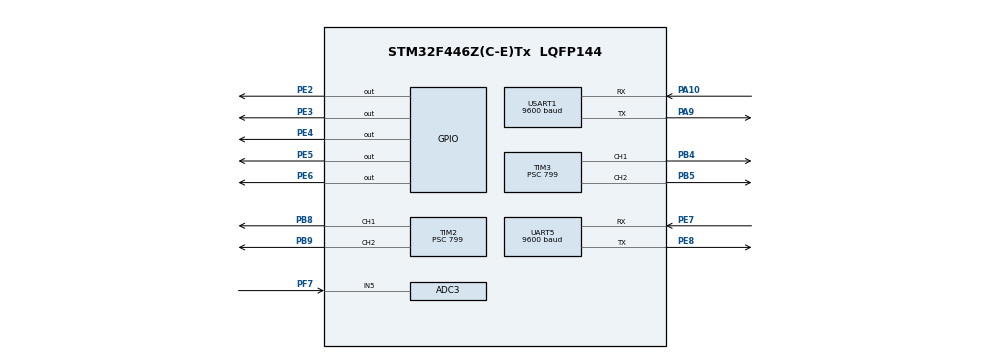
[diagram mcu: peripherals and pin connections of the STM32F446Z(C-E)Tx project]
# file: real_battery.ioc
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ADC3.Channel-0\#ChannelRegularConversion=ADC_CHANNEL_5
ADC3.NbrOfConversionFlag=1
ADC3.Rank-0\#ChannelRegularConversion=1
ADC3.SamplingTime-0\#ChannelRegularConversion=ADC_SAMPLETIME_3CYCLES
Mcu.Family=STM32F4
Mcu.Name=STM32F446Z(C-E)Tx
Mcu.Package=LQFP144
NVIC.PriorityGroup=NVIC_PRIORITYGROUP_4
PA10.Mode=Asynchronous
PA10.Signal=USART1_RX
PA9.Mode=Asynchronous
PA9.Signal=USART1_TX
PB4.Signal=S_TIM3_CH1
PB5.Signal=S_TIM3_CH2
PB8.Signal=S_TIM2_CH1_ETR
PB9.Signal=S_TIM2_CH2
PE2.Signal=GPIO_Output
PE3.Signal=GPIO_Output
PE4.Signal=GPIO_Output
PE5.Signal=GPIO_Output
PE6.Signal=GPIO_Output
PE7.Mode=Asynchronous
PE7.Signal=UART5_RX
PE8.Mode=Asynchronous
PE8.Signal=UART5_TX
PF7.Mode=IN5
PF7.Signal=ADC3_IN5
ProjectManager.HeapSize=0x200
ProjectManager.StackSize=0x400
ProjectManager.TargetToolchain=STM32CubeIDE
RCC.CortexFreq_Value=16000000
RCC.USBFreq_Value=96000000
RCC.VCOOutputFreq_Value=192000000
SH.S_TIM2_CH1_ETR.0=TIM2_CH1,PWM Generation1 CH1
SH.S_TIM2_CH2.0=TIM2_CH2,PWM Generation2 CH2
SH.S_TIM3_CH1.0=TIM3_CH1,PWM Generation1 CH1
SH.S_TIM3_CH2.0=TIM3_CH2,PWM Generation2 CH2
TIM2.Channel-PWM\ Generation1\ CH1=TIM_CHANNEL_1
TIM2.Channel-PWM\ Generation2\ CH2=TIM_CHANNEL_2
TIM2.Period=499
TIM2.Prescaler=799
TIM2.Pulse-PWM\ Generation1\ CH1=250
TIM2.Pulse-PWM\ Generation2\ CH2=250
TIM3.Channel-PWM\ Generation1\ CH1=TIM_CHANNEL_1
TIM3.Channel-PWM\ Generation2\ CH2=TIM_CHANNEL_2
TIM3.Period=499
TIM3.Prescaler=799
TIM3.Pulse-PWM\ Generation1\ CH1=250
TIM3.Pulse-PWM\ Generation2\ CH2=250
UART5.BaudRate=9600
UART5.VirtualMode=Asynchronous
USART1.BaudRate=9600
USART1.VirtualMode=VM_ASYNC
board=custom

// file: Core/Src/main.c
/* USER CODE BEGIN Header */
/**
 ******************************************************************************
 * @file           : main.c
 * @brief          : Main program body
 ******************************************************************************
 * @attention
 *
 * <h2><center>&copy; Copyright (c) 2021 STMicroelectronics.
 * All rights reserved.</center></h2>
 *
 * This software component is licensed by ST under BSD 3-Clause license,
 * the "License"; You may not use this file except in compliance with the
 * License. You may obtain a copy of the License at:
 *                        opensource.org/licenses/BSD-3-Clause
 *
 ******************************************************************************
 */
/* USER CODE END Header */
#include "main.h"

/* USER CODE BEGIN PTD */
typedef enum{F, FL, FR, L, R, B, BL, BR} direction;
/* USER CODE END PTD */

/* USER CODE BEGIN PD */
#define GET_LOW_BYTE(A) (uint8_t)((A))

#define GET_HIGH_BYTE(A) (uint8_t)((A) >> 8)
/* USER CODE END PD */

ADC_HandleTypeDef hadc3;

TIM_HandleTypeDef htim2;
TIM_HandleTypeDef htim3;

UART_HandleTypeDef huart5;
UART_HandleTypeDef huart1;

/* USER CODE BEGIN PV */
int speed;
direction dir;
/* USER CODE END PV */

void SystemClock_Config(void);
static void MX_GPIO_Init(void);
static void MX_ADC3_Init(void);
static void MX_TIM2_Init(void);
static void MX_TIM3_Init(void);
static void MX_UART5_Init(void);
static void MX_USART1_UART_Init(void);
/* USER CODE BEGIN PFP */
void BMS_update(void);
void drive_PWM(void);
void moveServos(uint8_t* servoNum, uint32_t* angles, uint8_t length);
void resetServos();
/* USER CODE END PFP */

/* USER CODE BEGIN 0 */

void BMS_update(void) {
	float raw;
	if(HAL_ADC_Start(&hadc3) == HAL_OK) {
		if (HAL_ADC_PollForConversion(&hadc3, 1000000) == HAL_OK)
		{
			raw = HAL_ADC_GetValue(&hadc3);
		}
	}
	float Vbatt2 = (raw / 4096.0) * 3.35345006 * 6;

	//12.4, 12.8, 13.2, 13.6, 14
	if (Vbatt2 > 14)
		HAL_GPIO_WritePin(GPIOE, GPIO_PIN_2, 1);
	else
		HAL_GPIO_WritePin(GPIOE, GPIO_PIN_2, 0);

	if (Vbatt2 > 13.6)
		HAL_GPIO_WritePin(GPIOE, GPIO_PIN_3, 1);
	else
		HAL_GPIO_WritePin(GPIOE, GPIO_PIN_3, 0);

	if (Vbatt2 > 13.2)
		HAL_GPIO_WritePin(GPIOE, GPIO_PIN_4, 1);
	else
		HAL_GPIO_WritePin(GPIOE, GPIO_PIN_4, 0);

	if (Vbatt2 > 12.8)
		HAL_GPIO_WritePin(GPIOE, GPIO_PIN_5, 1);
	else
		HAL_GPIO_WritePin(GPIOE, GPIO_PIN_5, 0);

	if (Vbatt2 > 12.4)
		HAL_GPIO_WritePin(GPIOE, GPIO_PIN_6, 1);
	else
		HAL_GPIO_WritePin(GPIOE, GPIO_PIN_6, 0);
}

void drive_PWM() {
	switch(dir) {
	case F: {
		TIM2->CCR1 = speed;
	}
	case FL: {
		TIM2->CCR1 = speed;
		TIM2->CCR2 = 0;
		TIM3->CCR1 = 0;
		TIM3->CCR2 = speed;
	}
	case FR:
	case L:
	case R:
	case B:
	case BL:
	case BR:
	default: speed = speed;
	}
}

void operateArm(void) {
	uint8_t length = 5;
	uint8_t servos[length];
	uint32_t angles[length];

	for (int i = 0; i < length; i++)
	{
		servos[i] = i + 2;
		angles[i] = 1500;
	}

	moveServos(servos, angles, length);
	// Claw pivot servo - doesn't ever need to change
	angles[0] = 1500;

	//Top arm servo -
	angles[1] = 1000;
	//600 down straight
	//1500 right angle

	// Mid-arm servo
	angles[2] = 400;
	// 400 forwards down

	// Base servo
	angles[3] = 2200;
	//2200 forwards down - BE CAREFUL THIS PUTS IT REALLY LOW
	//800 backwards down

	// Claw
	// 1500 open completely
	// 2500 closed with contact
	angles[4] = 1500;

	moveServos(servos, angles, length);

	//Grab the object
	angles[4] = 2000;
	moveServos(servos, angles, length);

	//Move the arm backwards
	angles[3] = 1500;
	moveServos(servos, angles, length);
	angles[1] = 1500;
	angles[2] = 1500;
	angles[3] = 1500;
	angles[4] = 2000;
	moveServos(servos, angles, length);

	//Drop the item
	angles[4] = 1500;
	moveServos(servos, angles, length);
}

/* A function that moves the servos defined in servoNum to their corresponding index in angles.
 * The parameters of values to send out are based on:
 * 	https://www.dropbox.com/sh/ykbn480cpidmmej/AACul8lJTQXZdX2APnYCorRca?dl=0&preview=LSC+Series+Servo+Controller+Communication+Protocol+V1.2.pdf
 *
 * servoNum: Array of servo ID values. This doesn't need to be 6 long, just put the values you want to move
 * 		- Servo 1 doesn't work
 * 		- Servo 2 is the claw rotation
 * 		- Servo 3 is the fine vertical pivot
 * 		- Servo 4 is the medium vertical pivot
 * 		- Servo 5 is the large vertical pivot
 * 		- Servo 6 controls the claw's pinching
 *
 * 	angles: Array of angles for each corresponding servo in servoNum
 * 		- 1000 = bottom of range
 * 		- 2000 = top of range
 *
 * 	length: length of both servoNum array and angles array
 */
void moveServos(uint8_t* servos, uint32_t* angles, uint8_t length)
{
	uint16_t time = 1000; //default time because why not

	uint8_t data[7 + (length * 3)];
	data[0] = 0x55; //header 1
	data[1] = 0x55; //header 2
	data[2] = 0x05 + (length * 3); //length
	data[3] = 0x03; //cmd
	data[4] = length; //# servos
	data[5] = GET_LOW_BYTE(time); //lower 8 time
	data[6] = GET_HIGH_BYTE(time); //upper 8 time
	for (int i = 0; i < length; i++)
	{
		data[7 + (i * 3)] = servos[i];
		data[8 + (i * 3)] = GET_LOW_BYTE(angles[i]);
		data[9 + (i * 3)] = GET_HIGH_BYTE(angles[i]);
	}
	HAL_UART_Transmit(&huart1, data, 7 + (length * 3), time + 250);
	//	HAL_Delay(3000);
}

void resetServos()
{
	uint8_t length = 5;
	uint8_t servos[length];
	uint32_t angles[length];
	for(int i = 0; i < length; i++)
	{
		servos[i] = i + 2;
		angles[i] = 1500;
	}
	//	angles[1] = 600;
	angles[4] = 2000;
	moveServos(servos, angles, length);
}
/* USER CODE END 0 */

int main(void)
{

  /* MCU Configuration--------------------------------------------------------*/

  /* Reset of all peripherals, Initializes the Flash interface and the Systick. */
  HAL_Init();

  /* Configure the system clock */
  SystemClock_Config();

  /* Initialize all configured peripherals */
  MX_GPIO_Init();
  MX_ADC3_Init();
  MX_TIM2_Init();
  MX_TIM3_Init();
  MX_UART5_Init();
  MX_USART1_UART_Init();
  /* USER CODE BEGIN 2 */
	HAL_TIM_PWM_Start(&htim2, TIM_CHANNEL_1);
	HAL_TIM_PWM_Start(&htim2, TIM_CHANNEL_2);
	HAL_TIM_PWM_Start(&htim3, TIM_CHANNEL_1);
	HAL_TIM_PWM_Start(&htim3, TIM_CHANNEL_2);

	speed = 25;
	speed = (speed / 100.0) * 500;
	dir = FL;
  /* USER CODE END 2 */

  /* Infinite loop */
  /* USER CODE BEGIN WHILE */
	while (1)
	{
		//	  BMS_update();
		//		drive_PWM();
		resetServos();
    /* USER CODE END WHILE */

	}
}

void SystemClock_Config(void)
{
  RCC_OscInitTypeDef RCC_OscInitStruct = {0};
  RCC_ClkInitTypeDef RCC_ClkInitStruct = {0};

  /** Configure the main internal regulator output voltage
  */
  __HAL_RCC_PWR_CLK_ENABLE();
  __HAL_PWR_VOLTAGESCALING_CONFIG(PWR_REGULATOR_VOLTAGE_SCALE3);
  /** Initializes the RCC Oscillators according to the specified parameters
  * in the RCC_OscInitTypeDef structure.
  */
  RCC_OscInitStruct.OscillatorType = RCC_OSCILLATORTYPE_HSI;
  RCC_OscInitStruct.HSIState = RCC_HSI_ON;
  RCC_OscInitStruct.HSICalibrationValue = RCC_HSICALIBRATION_DEFAULT;
  RCC_OscInitStruct.PLL.PLLState = RCC_PLL_NONE;
  if (HAL_RCC_OscConfig(&RCC_OscInitStruct) != HAL_OK)
  {
    Error_Handler();
  }
  /** Initializes the CPU, AHB and APB buses clocks
  */
  RCC_ClkInitStruct.ClockType = RCC_CLOCKTYPE_HCLK|RCC_CLOCKTYPE_SYSCLK
                              |RCC_CLOCKTYPE_PCLK1|RCC_CLOCKTYPE_PCLK2;
  RCC_ClkInitStruct.SYSCLKSource = RCC_SYSCLKSOURCE_HSI;
  RCC_ClkInitStruct.AHBCLKDivider = RCC_SYSCLK_DIV1;
  RCC_ClkInitStruct.APB1CLKDivider = RCC_HCLK_DIV1;
  RCC_ClkInitStruct.APB2CLKDivider = RCC_HCLK_DIV1;

  if (HAL_RCC_ClockConfig(&RCC_ClkInitStruct, FLASH_LATENCY_0) != HAL_OK)
  {
    Error_Handler();
  }
}

static void MX_ADC3_Init(void)
{

  ADC_ChannelConfTypeDef sConfig = {0};

  /** Configure the global features of the ADC (Clock, Resolution, Data Alignment and number of conversion)
  */
  hadc3.Instance = ADC3;
  hadc3.Init.ClockPrescaler = ADC_CLOCK_SYNC_PCLK_DIV2;
  hadc3.Init.Resolution = ADC_RESOLUTION_12B;
  hadc3.Init.ScanConvMode = DISABLE;
  hadc3.Init.ContinuousConvMode = DISABLE;
  hadc3.Init.DiscontinuousConvMode = DISABLE;
  hadc3.Init.ExternalTrigConvEdge = ADC_EXTERNALTRIGCONVEDGE_NONE;
  hadc3.Init.ExternalTrigConv = ADC_SOFTWARE_START;
  hadc3.Init.DataAlign = ADC_DATAALIGN_RIGHT;
  hadc3.Init.NbrOfConversion = 1;
  hadc3.Init.DMAContinuousRequests = DISABLE;
  hadc3.Init.EOCSelection = ADC_EOC_SINGLE_CONV;
  if (HAL_ADC_Init(&hadc3) != HAL_OK)
  {
    Error_Handler();
  }
  /** Configure for the selected ADC regular channel its corresponding rank in the sequencer and its sample time.
  */
  sConfig.Channel = ADC_CHANNEL_5;
  sConfig.Rank = 1;
  sConfig.SamplingTime = ADC_SAMPLETIME_3CYCLES;
  if (HAL_ADC_ConfigChannel(&hadc3, &sConfig) != HAL_OK)
  {
    Error_Handler();
  }

}

static void MX_TIM2_Init(void)
{

  TIM_MasterConfigTypeDef sMasterConfig = {0};
  TIM_OC_InitTypeDef sConfigOC = {0};

  htim2.Instance = TIM2;
  htim2.Init.Prescaler = 799;
  htim2.Init.CounterMode = TIM_COUNTERMODE_UP;
  htim2.Init.Period = 499;
  htim2.Init.ClockDivision = TIM_CLOCKDIVISION_DIV1;
  htim2.Init.AutoReloadPreload = TIM_AUTORELOAD_PRELOAD_DISABLE;
  if (HAL_TIM_PWM_Init(&htim2) != HAL_OK)
  {
    Error_Handler();
  }
  sMasterConfig.MasterOutputTrigger = TIM_TRGO_RESET;
  sMasterConfig.MasterSlaveMode = TIM_MASTERSLAVEMODE_DISABLE;
  if (HAL_TIMEx_MasterConfigSynchronization(&htim2, &sMasterConfig) != HAL_OK)
  {
    Error_Handler();
  }
  sConfigOC.OCMode = TIM_OCMODE_PWM1;
  sConfigOC.Pulse = 250;
  sConfigOC.OCPolarity = TIM_OCPOLARITY_HIGH;
  sConfigOC.OCFastMode = TIM_OCFAST_DISABLE;
  if (HAL_TIM_PWM_ConfigChannel(&htim2, &sConfigOC, TIM_CHANNEL_1) != HAL_OK)
  {
    Error_Handler();
  }
  if (HAL_TIM_PWM_ConfigChannel(&htim2, &sConfigOC, TIM_CHANNEL_2) != HAL_OK)
  {
    Error_Handler();
  }
  HAL_TIM_MspPostInit(&htim2);

}

static void MX_TIM3_Init(void)
{

  TIM_MasterConfigTypeDef sMasterConfig = {0};
  TIM_OC_InitTypeDef sConfigOC = {0};

  htim3.Instance = TIM3;
  htim3.Init.Prescaler = 799;
  htim3.Init.CounterMode = TIM_COUNTERMODE_UP;
  htim3.Init.Period = 499;
  htim3.Init.ClockDivision = TIM_CLOCKDIVISION_DIV1;
  htim3.Init.AutoReloadPreload = TIM_AUTORELOAD_PRELOAD_DISABLE;
  if (HAL_TIM_PWM_Init(&htim3) != HAL_OK)
  {
    Error_Handler();
  }
  sMasterConfig.MasterOutputTrigger = TIM_TRGO_RESET;
  sMasterConfig.MasterSlaveMode = TIM_MASTERSLAVEMODE_DISABLE;
  if (HAL_TIMEx_MasterConfigSynchronization(&htim3, &sMasterConfig) != HAL_OK)
  {
    Error_Handler();
  }
  sConfigOC.OCMode = TIM_OCMODE_PWM1;
  sConfigOC.Pulse = 250;
  sConfigOC.OCPolarity = TIM_OCPOLARITY_HIGH;
  sConfigOC.OCFastMode = TIM_OCFAST_DISABLE;
  if (HAL_TIM_PWM_ConfigChannel(&htim3, &sConfigOC, TIM_CHANNEL_1) != HAL_OK)
  {
    Error_Handler();
  }
  if (HAL_TIM_PWM_ConfigChannel(&htim3, &sConfigOC, TIM_CHANNEL_2) != HAL_OK)
  {
    Error_Handler();
  }
  HAL_TIM_MspPostInit(&htim3);

}

static void MX_UART5_Init(void)
{

  huart5.Instance = UART5;
  huart5.Init.BaudRate = 9600;
  huart5.Init.WordLength = UART_WORDLENGTH_8B;
  huart5.Init.StopBits = UART_STOPBITS_1;
  huart5.Init.Parity = UART_PARITY_NONE;
  huart5.Init.Mode = UART_MODE_TX_RX;
  huart5.Init.HwFlowCtl = UART_HWCONTROL_NONE;
  huart5.Init.OverSampling = UART_OVERSAMPLING_16;
  if (HAL_UART_Init(&huart5) != HAL_OK)
  {
    Error_Handler();
  }

}

static void MX_USART1_UART_Init(void)
{

  huart1.Instance = USART1;
  huart1.Init.BaudRate = 9600;
  huart1.Init.WordLength = UART_WORDLENGTH_8B;
  huart1.Init.StopBits = UART_STOPBITS_1;
  huart1.Init.Parity = UART_PARITY_NONE;
  huart1.Init.Mode = UART_MODE_TX_RX;
  huart1.Init.HwFlowCtl = UART_HWCONTROL_NONE;
  huart1.Init.OverSampling = UART_OVERSAMPLING_16;
  if (HAL_UART_Init(&huart1) != HAL_OK)
  {
    Error_Handler();
  }

}

static void MX_GPIO_Init(void)
{
  GPIO_InitTypeDef GPIO_InitStruct = {0};

  /* GPIO Ports Clock Enable */
  __HAL_RCC_GPIOE_CLK_ENABLE();
  __HAL_RCC_GPIOF_CLK_ENABLE();
  __HAL_RCC_GPIOA_CLK_ENABLE();
  __HAL_RCC_GPIOB_CLK_ENABLE();

  /*Configure GPIO pin Output Level */
  HAL_GPIO_WritePin(GPIOE, GPIO_PIN_2|GPIO_PIN_3|GPIO_PIN_4|GPIO_PIN_5
                          |GPIO_PIN_6, GPIO_PIN_RESET);

  /*Configure GPIO pins : PE2 PE3 PE4 PE5
                           PE6 */
  GPIO_InitStruct.Pin = GPIO_PIN_2|GPIO_PIN_3|GPIO_PIN_4|GPIO_PIN_5
                          |GPIO_PIN_6;
  GPIO_InitStruct.Mode = GPIO_MODE_OUTPUT_PP;
  GPIO_InitStruct.Pull = GPIO_NOPULL;
  GPIO_InitStruct.Speed = GPIO_SPEED_FREQ_LOW;
  HAL_GPIO_Init(GPIOE, &GPIO_InitStruct);

}

void Error_Handler(void)
{
}

/************************ (C) COPYRIGHT STMicroelectronics *****END OF FILE****/
